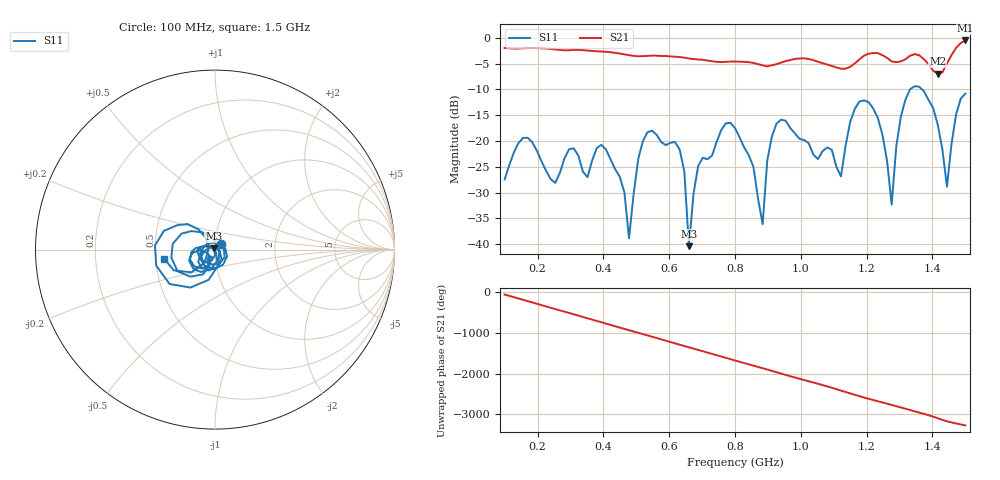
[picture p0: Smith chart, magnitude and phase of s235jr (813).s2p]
! NanoVNA-App
! Date: 2025-09-25 15:10:30
! Start: 100MHz Stop: 1,5GHz Points: 101
! S-Parameter data: F S11 S21 S12 S22
# Hz S RI R 50
!  Frequency  S11_Real  S11_Imag  S21_Real  S21_Imag  S12_Real  S12_Imag  S22_Real  S22_Imag
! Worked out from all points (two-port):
!   101 points, 100 MHz to 1.5 GHz, reference 50 ohm
!   highest |S21| = -0.52 dB at 1.5 GHz (marker M1); lowest = -7.0 dB at 1.416 GHz (marker M2)
!   |S21| within 3 dB of the highest: start of sweep to 493 MHz; 1.191 GHz to 1.252 GHz (60.73 MHz wide, 4.97 % of centre) (the widest 2 of 5)
!   lowest |S11| = -40.4 dB at 660 MHz (marker M3), VSWR 1.02, Z = 49.3 + j0.607 ohm
!   |S11| at or under -10 dB: start of sweep to 1.332 GHz; 1.368 GHz to end of sweep
!   S12 and S22 are empty: the file has one direction only
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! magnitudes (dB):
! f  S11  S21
! 100 MHz  -27.5  -2.0
! 156 MHz  -19.4  -2.0
! 338 MHz  -26.0  -2.4
! 408 MHz  -21.7  -2.7
! 478 MHz  -38.9  -3.4
! 520 MHz  -20.1  -3.6
! 576 MHz  -20.2  -3.5
! 632 MHz  -21.7  -3.7
! 660 MHz  -40.4  -4.0
! 688 MHz  -24.9  -4.2
! 800 MHz  -17.5  -4.6
! 884 MHz  -36.2  -5.3
! 926 MHz  -16.7  -5.1
! 1.038 GHz  -22.6  -4.3
! 1.122 GHz  -26.9  -6.0
! 1.164 GHz  -13.8  -5.0
! 1.206 GHz  -12.5  -3.1
! 1.276 GHz  -32.3  -4.6
! 1.332 GHz  -10.0  -3.5
! 1.416 GHz  -16.8  -7.0
! 1.444 GHz  -28.9  -5.0
! 1.5 GHz  -10.8  -0.5
